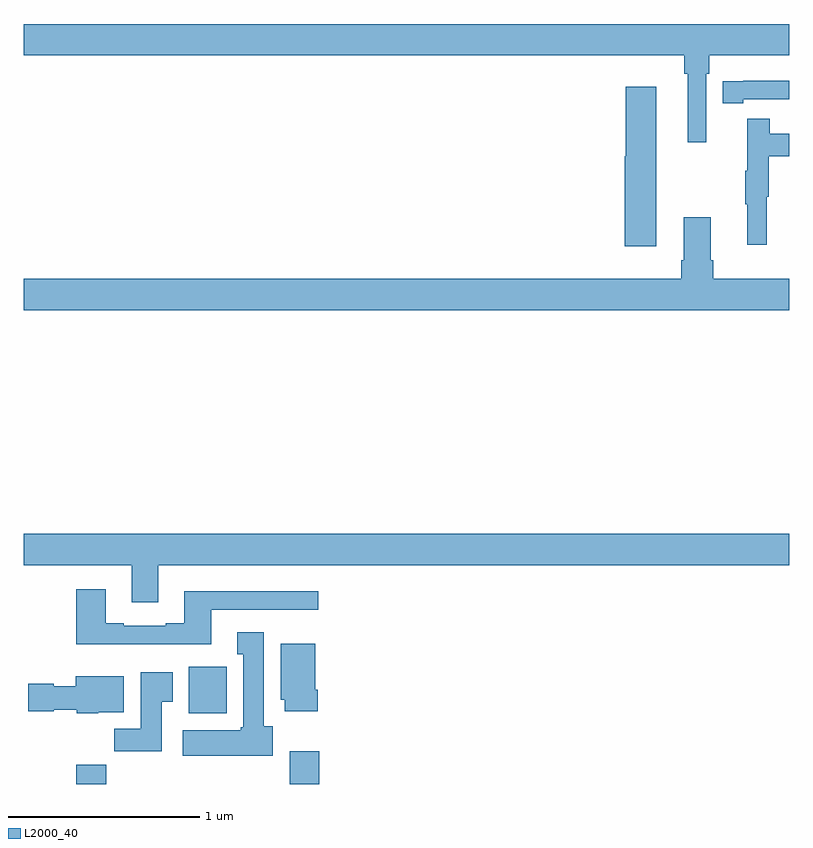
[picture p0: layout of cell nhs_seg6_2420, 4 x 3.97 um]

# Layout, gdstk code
import gdstk
lib = gdstk.Library(unit=1e-6, precision=1e-09)
def R(c, l, rs):  # rectangles x0, y0, x1, y1
    for r in rs: c.add(gdstk.rectangle(r[:2], r[2:], *l))
def P(c, l, *ps):  # polygons
    for p in ps: c.add(gdstk.Polygon(p, *l))
L2000_40 = (2000, 40)

nhs_seg6_2420 = lib.new_cell('nhs_seg6_2420')
R(nhs_seg6_2420, L2000_40, [(255.275,971.5,255.431,971.6), (256.391,971.5,256.544,971.671), (255.863,971.87,256.06,972.112)])
P(nhs_seg6_2420, L2000_40, [(258.567,975.212),(258.581,975.212),(258.581,975.308),(259,975.308),(259,975.472),(255,975.472),(255,975.308),(258.451,975.308),(258.451,975.212),(258.47,975.212),(258.47,974.853),(258.567,974.853)],
  [(258.76,975.078),(259,975.078),(259,975.175),(258.76,975.175),(258.76,975.174),(258.652,975.174),(258.652,975.058),(258.76,975.058)],
  [(258.304,975.145),(258.146,975.145),(258.146,974.781),(258.14,974.781),(258.14,974.31),(258.304,974.31)],
  [(258.884,974.568),(258.892,974.568),(258.892,974.782),(259,974.782),(259,974.898),(258.899,974.898),(258.899,974.977),(258.782,974.977),(258.782,974.705),(258.771,974.705),(258.771,974.531),(258.782,974.531),(258.782,974.319),(258.884,974.319)],
  [(259,974.14),(258.602,974.14),(258.602,974.236),(258.589,974.236),(258.589,974.461),(258.449,974.461),(258.449,974.236),(258.437,974.236),(258.437,974.14),(255,974.14),(255,973.976),(259,973.976)],
  [(255.703,972.644),(259,972.644),(259,972.808),(255,972.808),(255,972.644),(255.563,972.644),(255.563,972.45),(255.703,972.45)],
  [(255.979,972.411),(256.54,972.411),(256.54,972.508),(255.839,972.508),(255.839,972.34),(255.743,972.34),(255.743,972.327),(255.523,972.327),(255.523,972.34),(255.427,972.34),(255.427,972.517),(255.275,972.517),(255.275,972.23),(255.979,972.23)],
  [(256.3,971.802),(256.255,971.802),(256.255,972.292),(256.115,972.292),(256.115,972.179),(256.148,972.179),(256.148,971.796),(256.135,971.796),(256.135,971.782),(255.831,971.782),(255.831,971.648),(256.3,971.648)],
  [(256.535,971.992),(256.522,971.992),(256.522,972.232),(256.343,972.232),(256.343,971.94),(256.364,971.94),(256.364,971.88),(256.535,971.88)],
  [(255.721,971.929),(255.778,971.929),(255.778,972.085),(255.611,972.085),(255.611,971.788),(255.472,971.788),(255.472,971.67),(255.721,971.67)],
  [(255.39,971.876),(255.523,971.876),(255.523,972.064),(255.272,972.064),(255.272,972.01),(255.156,972.01),(255.156,972.023),(255.024,972.023),(255.024,971.881),(255.156,971.881),(255.156,971.888),(255.276,971.888),(255.276,971.87),(255.39,971.87)])

lib.write_gds('nhs_seg6_2420.gds')
